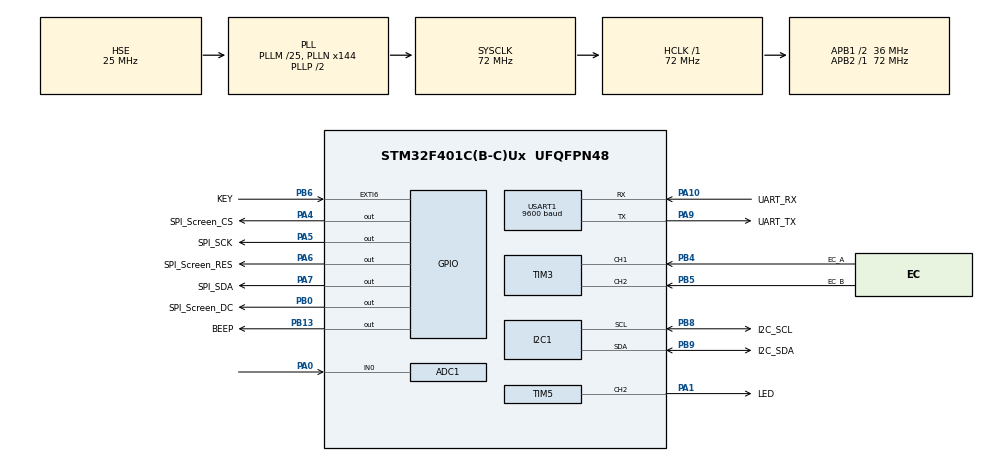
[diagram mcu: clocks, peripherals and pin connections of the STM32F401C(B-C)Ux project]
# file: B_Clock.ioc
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ADC1.Channel-1\#ChannelRegularConversion=ADC_CHANNEL_0
ADC1.ClockPrescaler=ADC_CLOCK_SYNC_PCLK_DIV4
ADC1.NbrOfConversionFlag=1
ADC1.Rank-1\#ChannelRegularConversion=1
ADC1.SamplingTime-1\#ChannelRegularConversion=ADC_SAMPLETIME_3CYCLES
ADC1.master=1
Dma.Request0=USART1_RX
Dma.Request1=USART1_TX
Dma.USART1_RX.0.Direction=DMA_PERIPH_TO_MEMORY
Dma.USART1_RX.0.FIFOMode=DMA_FIFOMODE_DISABLE
Dma.USART1_RX.0.Instance=DMA2_Stream2
Dma.USART1_RX.0.MemDataAlignment=DMA_MDATAALIGN_BYTE
Dma.USART1_RX.0.MemInc=DMA_MINC_ENABLE
Dma.USART1_RX.0.Mode=DMA_NORMAL
Dma.USART1_RX.0.PeriphDataAlignment=DMA_PDATAALIGN_BYTE
Dma.USART1_RX.0.PeriphInc=DMA_PINC_DISABLE
Dma.USART1_RX.0.Priority=DMA_PRIORITY_LOW
Dma.USART1_TX.1.Direction=DMA_MEMORY_TO_PERIPH
Dma.USART1_TX.1.FIFOMode=DMA_FIFOMODE_DISABLE
Dma.USART1_TX.1.Instance=DMA2_Stream7
Dma.USART1_TX.1.MemDataAlignment=DMA_MDATAALIGN_BYTE
Dma.USART1_TX.1.MemInc=DMA_MINC_ENABLE
Dma.USART1_TX.1.Mode=DMA_NORMAL
Dma.USART1_TX.1.PeriphDataAlignment=DMA_PDATAALIGN_BYTE
Dma.USART1_TX.1.PeriphInc=DMA_PINC_DISABLE
Dma.USART1_TX.1.Priority=DMA_PRIORITY_LOW
Mcu.Family=STM32F4
Mcu.Name=STM32F401C(B-C)Ux
Mcu.Package=UFQFPN48
NVIC.DMA2_Stream2_IRQn=true\:0\:0\:false\:false\:true\:false\:true\:true
NVIC.DMA2_Stream7_IRQn=true\:0\:0\:false\:false\:true\:false\:true\:true
NVIC.EXTI9_5_IRQn=true\:4\:0\:true\:false\:true\:true\:true\:true
NVIC.PriorityGroup=NVIC_PRIORITYGROUP_4
NVIC.RTC_Alarm_IRQn=true\:1\:0\:true\:false\:true\:true\:true\:true
NVIC.TIM2_IRQn=true\:3\:0\:true\:false\:true\:true\:true\:true
NVIC.TIM4_IRQn=true\:8\:0\:true\:false\:true\:true\:true\:true
NVIC.USART1_IRQn=true\:2\:0\:true\:false\:true\:true\:true\:true
PA0-WKUP.Signal=ADCx_IN0
PA1.GPIO_Label=LED
PA1.GPIO_ModeDefaultPP=GPIO_MODE_AF_OD
PA1.GPIO_PuPd=GPIO_NOPULL
PA1.GPIO_Speed=GPIO_SPEED_FREQ_LOW
PA1.Signal=S_TIM5_CH2
PA10.GPIO_Label=UART_RX
PA10.Mode=Asynchronous
PA10.Signal=USART1_RX
PA13.Mode=Serial_Wire
PA13.Signal=SYS_JTMS-SWDIO
PA14.Mode=Serial_Wire
PA14.Signal=SYS_JTCK-SWCLK
PA4.GPIO_Label=SPI_Screen_CS
PA4.GPIO_PuPd=GPIO_PULLUP
PA4.GPIO_Speed=GPIO_SPEED_FREQ_VERY_HIGH
PA4.Signal=GPIO_Output
PA5.GPIO_Label=SPI_SCK
PA5.GPIO_PuPd=GPIO_PULLUP
PA5.GPIO_Speed=GPIO_SPEED_FREQ_VERY_HIGH
PA5.Signal=GPIO_Output
PA6.GPIO_Label=SPI_Screen_RES
PA6.GPIO_PuPd=GPIO_PULLUP
PA6.GPIO_Speed=GPIO_SPEED_FREQ_VERY_HIGH
PA6.Signal=GPIO_Output
PA7.GPIO_Label=SPI_SDA
PA7.GPIO_PuPd=GPIO_PULLUP
PA7.GPIO_Speed=GPIO_SPEED_FREQ_VERY_HIGH
PA7.Signal=GPIO_Output
PA9.GPIO_Label=UART_TX
PA9.Mode=Asynchronous
PA9.Signal=USART1_TX
PB0.GPIO_Label=SPI_Screen_DC
PB0.GPIO_PuPd=GPIO_PULLUP
PB0.GPIO_Speed=GPIO_SPEED_FREQ_VERY_HIGH
PB0.Signal=GPIO_Output
PB13.GPIO_Label=BEEP
PB13.GPIO_ModeDefaultOutputPP=GPIO_MODE_OUTPUT_OD
PB13.GPIO_PuPd=GPIO_NOPULL
PB13.PinState=GPIO_PIN_SET
PB13.Signal=GPIO_Output
PB4.GPIO_Label=EC_A
PB4.GPIO_PuPd=GPIO_PULLUP
PB4.Signal=S_TIM3_CH1
PB5.GPIO_Label=EC_B
PB5.GPIO_PuPd=GPIO_PULLUP
PB5.Signal=S_TIM3_CH2
PB6.GPIO_Label=KEY
PB6.GPIO_ModeDefaultEXTI=GPIO_MODE_IT_FALLING
PB6.GPIO_PuPd=GPIO_PULLUP
PB6.Signal=GPXTI6
PB8.GPIO_Label=I2C_SCL
PB8.Mode=I2C
PB8.Signal=I2C1_SCL
PB9.GPIO_Label=I2C_SDA
PB9.Mode=I2C
PB9.Signal=I2C1_SDA
PC14-OSC32_IN.Mode=LSE-External-Oscillator
PC14-OSC32_IN.Signal=RCC_OSC32_IN
PC15-OSC32_OUT.Mode=LSE-External-Oscillator
PC15-OSC32_OUT.Signal=RCC_OSC32_OUT
PH0\ -\ OSC_IN.Mode=HSE-External-Oscillator
PH0\ -\ OSC_IN.Signal=RCC_OSC_IN
PH1\ -\ OSC_OUT.Mode=HSE-External-Oscillator
PH1\ -\ OSC_OUT.Signal=RCC_OSC_OUT
ProjectManager.HeapSize=0x200
ProjectManager.StackSize=0x400
ProjectManager.TargetToolchain=STM32CubeIDE
RCC.48MHZClocksFreq_Value=36000000
RCC.AHBFreq_Value=72000000
RCC.APB1CLKDivider=RCC_HCLK_DIV2
RCC.APB1Freq_Value=36000000
RCC.APB1TimFreq_Value=72000000
RCC.APB2Freq_Value=72000000
RCC.APB2TimFreq_Value=72000000
RCC.CortexFreq_Value=72000000
RCC.EnbaleCSS=true
RCC.HCLKFreq_Value=72000000
RCC.HSE_VALUE=25000000
RCC.HSI_VALUE=16000000
RCC.PLLM=25
RCC.PLLN=144
RCC.PLLSourceVirtual=RCC_PLLSOURCE_HSE
RCC.RCC_RTC_Clock_Source=RCC_RTCCLKSOURCE_LSE
RCC.RCC_RTC_Clock_SourceVirtual=RCC_RTCCLKSOURCE_LSE
RCC.SYSCLKFreq_VALUE=72000000
RCC.SYSCLKSource=RCC_SYSCLKSOURCE_PLLCLK
RCC.VCOOutputFreq_Value=144000000
RCC.VDD_VALUE=3.3
RTC.Alarm=RTC_ALARM_A
RTC.AlarmMaskDateWeekDay=RTC_ALARMMASK_DATEWEEKDAY
RTC.AlarmMaskHours=RTC_ALARMMASK_HOURS
RTC.AlarmMaskMinutes=RTC_ALARMMASK_MINUTES
RTC.AlarmMaskSeconds=RTC_ALARMMASK_SECONDS
RTC.Format=RTC_FORMAT_BIN
SH.ADCx_IN0.0=ADC1_IN0,IN0
SH.S_TIM3_CH1.0=TIM3_CH1,Encoder_Interface
SH.S_TIM3_CH2.0=TIM3_CH2,Encoder_Interface
SH.S_TIM5_CH2.0=TIM5_CH2,PWM Generation2 CH2
TIM2.AutoReloadPreload=TIM_AUTORELOAD_PRELOAD_ENABLE
TIM2.Period=999
TIM2.Prescaler=7199
TIM3.EncoderMode=TIM_ENCODERMODE_TI12
TIM3.IC1Filter=6
TIM3.IC2Filter=6
TIM4.AutoReloadPreload=TIM_AUTORELOAD_PRELOAD_ENABLE
TIM4.Period=820
TIM4.Prescaler=719
TIM5.Channel-PWM\ Generation2\ CH2=TIM_CHANNEL_2
TIM5.Period=99
TIM5.Prescaler=7199
USART1.BaudRate=9600
USART1.VirtualMode=VM_ASYNC
VP_RTC_VS_RTC_Activate.Mode=RTC_Enabled
VP_RTC_VS_RTC_Alarm_A_Intern.Mode=Alarm A
VP_RTC_VS_RTC_Calendar.Mode=RTC_Calendar
VP_TIM2_VS_ClockSourceINT.Mode=Internal
VP_TIM4_VS_ClockSourceINT.Mode=Internal
board=custom

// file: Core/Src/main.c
/* USER CODE BEGIN Header */
/**
 ******************************************************************************
 * @file           : main.c
 * @brief          : Main program body
 ******************************************************************************
 * @attention
 *
 * Copyright (c) 2023 STMicroelectronics.
 * All rights reserved.
 *
 * This software is licensed under terms that can be found in the LICENSE file
 * in the root directory of this software component.
 * If no LICENSE file comes with this software, it is provided AS-IS.
 *
 ******************************************************************************
 */
/* USER CODE END Header */
#include "main.h"

/* USER CODE BEGIN Includes */
#include <stdlib.h>
#include <string.h>
#include "struct_define.h"
#include "time_control.h"
#include "oled.h"
#include "error.h"
#include "LM75A.h"
#include "screen_content.h"
#include "encoder.h"
#include "bluetooth.h"
// #include "oledfont.h"
/* USER CODE END Includes */

ADC_HandleTypeDef hadc1;

I2C_HandleTypeDef hi2c1;

RTC_HandleTypeDef hrtc;

TIM_HandleTypeDef htim2;
TIM_HandleTypeDef htim3;
TIM_HandleTypeDef htim4;
TIM_HandleTypeDef htim5;

UART_HandleTypeDef huart1;
DMA_HandleTypeDef hdma_usart1_rx;
DMA_HandleTypeDef hdma_usart1_tx;

/* USER CODE BEGIN PV */

// 定义来自 struct_define.h 的结构体
// 记录时间
Times time_now;
// 记录正计时
Timing timing;
// 记录设置
Alarm_Setting alarm_setting;
// 记录屏幕内容
Screen screen;
// LED pwm 控制
Led_Control led_control = {0, 1}; // LED 呼吸灯控制
// 编码器状态
Encoder_State encoder_state = {0, 0}; // 初始时没有左右旋
// 蓝牙设置
Bluetooth_Setting bluetooth_setting;

// 小游戏
Times time_game = {0, 0, 0};

// 记录温度
extern TempDataStruct Tempdata;

// 蓝牙
uint8_t Rx_String[50];

/* USER CODE END PV */

void SystemClock_Config(void);
static void MX_GPIO_Init(void);
static void MX_DMA_Init(void);
static void MX_I2C1_Init(void);
static void MX_RTC_Init(void);
static void MX_USART1_UART_Init(void);
static void MX_TIM3_Init(void);
static void MX_TIM5_Init(void);
static void MX_TIM2_Init(void);
static void MX_TIM4_Init(void);
static void MX_ADC1_Init(void);

/* USER CODE BEGIN 0 */

// 蓝牙接收中断
void HAL_UARTEx_RxEventCallback(UART_HandleTypeDef *huart, uint16_t Size)
{
  if (huart == &huart1)
  {
    if (Rx_String[0] == 'n' && Rx_String[1] == 'o' && Rx_String[2] == 'w')
    {
      int8_t new_hour, new_minute, new_second;
      if ((new_hour = bluetooth_match_num(Rx_String[3], Rx_String[4], Rx_String[5], 00, 23)) != -1 && (new_minute = bluetooth_match_num(Rx_String[6], Rx_String[7], Rx_String[8], 00, 59)) != -1 && (new_second = bluetooth_match_num(Rx_String[9], Rx_String[10], Rx_String[11], 00, 59)) != -1)
      {
        time_now.hour = new_hour;
        time_now.minute = new_minute;
        time_now.second = new_second;
        bluetooth_send("ok", 2);
      }
      else
      {
        bluetooth_send("error", 5);
      }
    }
    else if (Rx_String[0] == 'a' && Rx_String[1] == 'l' && Rx_String[2] == 'm')
    {
      int8_t new_hour, new_minute, new_second;
      if ((new_hour = bluetooth_match_num(Rx_String[3], Rx_String[4], Rx_String[5], 00, 23)) != -1 && (new_minute = bluetooth_match_num(Rx_String[6], Rx_String[7], Rx_String[8], 00, 59)) != -1 && (new_second = bluetooth_match_num(Rx_String[9], Rx_String[10], Rx_String[11], 00, 59)) != -1)
      {
        alarm_setting.time_alart.hour = new_hour;
        alarm_setting.time_alart.minute = new_minute;
        alarm_setting.time_alart.second = new_second;
        bluetooth_send("ok", 2);
      }
      else
      {
        bluetooth_send("error", 5);
      }
    }
    else if (Rx_String[0] == 'f' && Rx_String[1] == 'r' && Rx_String[2] == 'q')
    {
      int8_t frq = 0;
      if ((frq = bluetooth_match_num(Rx_String[3], Rx_String[4], Rx_String[5], 01, 10)) != -1)
      {
        alarm_setting.alarm_frequency = frq;
        bluetooth_send("ok", 2);
      }
      else
      {
        bluetooth_send("error", 5);
      }
    }
    else if (Rx_String[0] == 's' && Rx_String[1] == 't' && Rx_String[2] == 'o' && Rx_String[3] == 'p')
    {
      // 停止，回主界面
      screen.screen_display_num = 1;
      screen.screen_display_choose = -1;
      screen.clean_display = 1;
      // 清除剩余响铃时间
      alarm_setting.alarming_time = 100;
      // 清空延时响铃
      alarm_setting.is_alarm_delayed = 0;
      bluetooth_send("ok", 2);
    }
    else
    {
      bluetooth_send("error", 5);
    }

    HAL_UARTEx_ReceiveToIdle_DMA(&huart1, Rx_String, sizeof(Rx_String));
    __HAL_DMA_DISABLE_IT(&hdma_usart1_rx, DMA_IT_HT);
  }
}

// 按键中断
void HAL_GPIO_EXTI_Callback(uint16_t GPIO_Pin)
{
  if (GPIO_Pin == KEY_Pin)
  {
    // 按键蜂鸣提示
    alarm_setting.alarming_time = 50;

    // 按界面分情况
    switch (screen.screen_display_num)
    {
    case 0: // 开机屏幕，忽略 小游戏
      screen.screen_display_num = 66;
      screen.screen_display_choose = 0;
      screen.clean_display = 1;
      break;

    case 1: // 主界面，进设置
      screen.screen_display_num = 2;
      screen.screen_display_choose = 0;
      screen.clean_display = 1;
      break;

    case 2: // 设置界面，看选择
      switch (screen.screen_display_choose)
      {
      case 0: // 回主界面
        screen.screen_display_num = 1;
        screen.screen_display_choose = -1;
        screen.clean_display = 1;
        break;
      case 1: // 进入时间设定界面
        screen.screen_display_num = 4;
        screen.screen_display_choose = 0;
        screen.clean_display = 1;
        break;
      case 2: // 进入闹钟设定界面
        screen.screen_display_num = 5;
        screen.screen_display_choose = 0;
        screen.clean_display = 1;
        break;
      case 3: // 进入蓝牙界面
        screen.screen_display_num = 3;
        screen.screen_display_choose = -1;
        screen.clean_display = 1;
        break;
      case 4: // 进入正计时界面
        screen.screen_display_num = 6;
        screen.screen_display_choose = -1;
        screen.clean_display = 1;
        break;
      }
      break;

    case 3: // 蓝牙界面，回主界面
      screen.screen_display_num = 1;
      screen.screen_display_choose = -1;
      screen.clean_display = 1;
      break;

    case 4: // 时间设定界面，进入下一项，直到结束
      screen.screen_display_choose++;
      break;

    case 5: // 闹钟设定界面，进入下一项，直到结束
      screen.screen_display_choose++;
      break;

    case 6: // 正计时界面，停止，开始
      if (timing.is_timing)
      {
        timing.is_timing = 0;
      }
      else
      {
        timing.is_timing = 1;
      }
      break;

    case 10: // 闹钟提示界面，按下停止，回主界面
      screen.screen_display_num = 1;
      screen.screen_display_choose = -1;
      screen.clean_display = 1;
      // 清空延时响铃
      alarm_setting.is_alarm_delayed = 0;
      break;

    case 66: // 小游戏，时间加
      time_add(&time_game);
      break;
    }
    return;
  }
}

// 时钟中断
void HAL_RTC_AlarmAEventCallback(RTC_HandleTypeDef *hrtc)
{
  /* Prevent unused argument(s) compilation warning */
  UNUSED(hrtc);

  // 每秒时钟增一单位
  time_add(&time_now);

  // 如果在正计时，计时加一单位
  if (timing.is_timing)
  {
    time_add(&timing.time_timing);
  }

  // 检测是否鸣响
  if (time_now.hour == alarm_setting.time_alart.hour && time_now.minute == alarm_setting.time_alart.minute && time_now.second == alarm_setting.time_alart.second)
  {
    alarm_setting.alarming_time = 60000; // 响铃60秒
    // 进入鸣响提示界面
    screen.screen_display_num = 10;
    screen.clean_display = 1;
    screen.screen_display_choose = -1;
    // 重置延时响铃
    alarm_setting.is_alarm_delayed = 0;
    alarm_setting.time_alart_real.hour = alarm_setting.time_alart.hour;
    alarm_setting.time_alart_real.minute = alarm_setting.time_alart.minute;
    alarm_setting.time_alart_real.second = alarm_setting.time_alart.second;
  }

  // 检测延时响铃，最多三次
  if (alarm_setting.is_alarm_delayed > 0 && alarm_setting.is_alarm_delayed < 4)
  {
    if (time_now.hour == alarm_setting.time_alart_real.hour && time_now.minute == alarm_setting.time_alart_real.minute && time_now.second == alarm_setting.time_alart_real.second)
    {
      alarm_setting.alarming_time = 60000; // 响铃60秒
      // 进入鸣响提示界面
      screen.screen_display_num = 10;
      screen.clean_display = 1;
      screen.screen_display_choose = -1;
    }
  }
  else
  {
    // 已经延时三次了，重置
    alarm_setting.is_alarm_delayed = 0;
  }
  return;
}

// 定时中断
void HAL_TIM_PeriodElapsedCallback(TIM_HandleTypeDef *htim)
{
  /* Prevent unused argument(s) compilation warning */
  UNUSED(htim);

  // 确认是tim2 10hz中断
  if (htim == (&htim2))
  {
    // 获取温度
    LM75A_GetTemperature();

    // 获取encoder值
    encoder_get_state();

    // 如果在闹钟界面且已经响铃一分钟，自动延时
    if (screen.screen_display_num == 10 && alarm_setting.alarming_time == 0)
    {
      // 闹钟提示界面，回主界面，3次内延时响铃
      screen.screen_display_num = 1;
      screen.screen_display_choose = -1;
      screen.clean_display = 1;
      time_alarm_delay(&alarm_setting);
    }

    // 根据界面决定encoder值更改位置
    if (encoder_state.Left || encoder_state.Right)
    {
      switch (screen.screen_display_num)
      {
      case 0: // 开机界面，丢弃
        break;

      case 1: // 主界面，丢弃
        break;

      case 2: // 设置界面，选择条目
        screen.screen_display_choose += encoder_state.Right - encoder_state.Left;
        break;

      case 3: // 蓝牙界面，丢弃
        break;

      case 4: // 时间设定界面，调整对应值
        switch (screen.screen_display_choose)
        {
        case 0:
          time_now.hour += encoder_state.Right - encoder_state.Left;
          if (time_now.hour > 23)
          {
            time_now.hour = 0;
          }
          if (time_now.hour < 0)
          {
            time_now.hour = 23;
          }
          break;
        case 1:
          time_now.minute += encoder_state.Right - encoder_state.Left;
          if (time_now.minute > 59)
          {
            time_now.minute = 0;
          }
          if (time_now.minute < 0)
          {
            time_now.minute = 59;
          }
          break;

        case 2:
          time_now.second += encoder_state.Right - encoder_state.Left;
          if (time_now.second > 59)
          {
            time_now.second = 0;
          }
          if (time_now.second < 0)
          {
            time_now.second = 59;
          }
          break;
        }
        break;

      case 5: // 闹钟设定界面，调整对应值
        switch (screen.screen_display_choose)
        {
        case 0:
          alarm_setting.time_alart.hour += encoder_state.Right - encoder_state.Left;
          if (alarm_setting.time_alart.hour > 23)
          {
            alarm_setting.time_alart.hour = 0;
          }
          if (alarm_setting.time_alart.hour < 0)
          {
            alarm_setting.time_alart.hour = 23;
          }
          break;

        case 1:
          alarm_setting.time_alart.minute += encoder_state.Right - encoder_state.Left;
          if (alarm_setting.time_alart.minute > 59)
          {
            alarm_setting.time_alart.minute = 0;
          }
          if (alarm_setting.time_alart.minute < 0)
          {
            alarm_setting.time_alart.minute = 59;
          }
          break;

        case 2:
          alarm_setting.time_alart.second += encoder_state.Right - encoder_state.Left;
          if (alarm_setting.time_alart.second > 59)
          {
            alarm_setting.time_alart.second = 0;
          }
          if (alarm_setting.time_alart.second < 0)
          {
            alarm_setting.time_alart.second = 59;
          }
          break;
        case 3:
          alarm_setting.alarm_frequency += encoder_state.Right - encoder_state.Left;
          if (alarm_setting.alarm_frequency > 10)
          {
            alarm_setting.alarm_frequency = 0;
          }
          if (alarm_setting.alarm_frequency < 1)
          {
            alarm_setting.alarm_frequency = 10;
          }
          break;
        }
        break;

      case 6: // 正计时界面，左clear，右back
        if (encoder_state.Left)
        {
          // 左clear
          timing.time_timing.hour = 0;
          timing.time_timing.minute = 0;
          timing.time_timing.second = 0;
        }
        else
        {
          // 右back，回主界面
          screen.screen_display_num = 1;
          screen.screen_display_choose = -1;
          screen.clean_display = 1;
        }
        break;

      case 10: // 闹钟提示界面，回主界面，3次内延时响铃
        screen.screen_display_num = 1;
        screen.screen_display_choose = -1;
        screen.clean_display = 1;
        // 停止响铃
        alarm_setting.alarming_time = 0;
        // 3次内延时加一次
        time_alarm_delay(&alarm_setting);
        break;
      }
    }

    // 丢弃
    encoder_state.Left = 0;
    encoder_state.Right = 0;

    // 屏显
    screen_show(&screen.screen_display_num, &screen.clean_display);
  }
  // 确认是tim4 100hz中断
  if (htim == (&htim4))
  {
    // 闲时LED保持呼吸，不响铃
    if (!alarm_setting.alarming_time)
    {
      // 不响铃
      HAL_GPIO_WritePin(BEEP_GPIO_Port, BEEP_Pin, GPIO_PIN_SET);
      // 呼吸
      if (led_control.LedpwmVal_Dir)
        led_control.LedpwmVal += 2;
      else
        led_control.LedpwmVal -= 2;

      if (led_control.LedpwmVal >= 98)
        led_control.LedpwmVal_Dir = 0; // 切换为PWM值减

      if (led_control.LedpwmVal <= 1)
        led_control.LedpwmVal_Dir = 1; // 切换为PWM值增
    }
    else
    {
      // 处理alarm
      if ((alarm_setting.alarming_time / (500 / alarm_setting.alarm_frequency)) % 2 == 0)
      {
        HAL_GPIO_WritePin(BEEP_GPIO_Port, BEEP_Pin, GPIO_PIN_RESET);
        led_control.LedpwmVal = 0; // 占空比100%
        led_control.LedpwmVal_Dir = 1;
      }
      else
      {
        HAL_GPIO_WritePin(BEEP_GPIO_Port, BEEP_Pin, GPIO_PIN_SET);
        led_control.LedpwmVal = 100; // 占空比0%
        led_control.LedpwmVal_Dir = 0;
      }

      alarm_setting.alarming_time -= 10; // 对alarm剩余时间减一单位
    }
    // 更新led pwm配置
    __HAL_TIM_SET_COMPARE(&htim5, TIM_CHANNEL_2, led_control.LedpwmVal);
  }
}

/* USER CODE END 0 */

int main(void)
{

  /* MCU Configuration--------------------------------------------------------*/

  /* Reset of all peripherals, Initializes the Flash interface and the Systick. */
  HAL_Init();

  /* Configure the system clock */
  SystemClock_Config();

  /* Initialize all configured peripherals */
  MX_GPIO_Init();
  MX_DMA_Init();
  MX_I2C1_Init();
  MX_RTC_Init();
  MX_USART1_UART_Init();
  MX_TIM3_Init();
  MX_TIM5_Init();
  MX_TIM2_Init();
  MX_TIM4_Init();
  MX_ADC1_Init();
  /* USER CODE BEGIN 2 */

  // 初始化状态检测
  HAL_StatusTypeDef status_test;

  // 初始化屏幕
  OLED_Init();

  // 启用编码器计数
  HAL_TIM_Encoder_Start(&htim3, TIM_CHANNEL_ALL);

  // 启用tim2 10hz
  HAL_TIM_Base_Start_IT(&htim2);
  // 启用tim4 100hz
  HAL_TIM_Base_Start_IT(&htim4);

  // 启动LED的PWM
  HAL_TIM_PWM_Start(&htim5, TIM_CHANNEL_2);

  // 鸣响频率 1~10
  alarm_setting.alarm_frequency = 5;
  // 初始化为不响铃
  alarm_setting.time_alart.hour = 0;
  alarm_setting.time_alart.minute = 0;
  alarm_setting.time_alart.second = 0;
  alarm_setting.time_alart_real.hour = 0;
  alarm_setting.time_alart_real.minute = 0;
  alarm_setting.time_alart_real.second = 0;
  alarm_setting.is_alarm_delayed = 0;

  // 不在响铃状态
  alarm_setting.alarming_time = 0;

  // 开机界面
  screen.screen_display_num = 0;
  screen.screen_display_choose = -1;
  screen.clean_display = 0;

  // 初始化蓝牙
  // 开启蓝牙接收中断
  HAL_UARTEx_ReceiveToIdle_DMA(&huart1, Rx_String, sizeof(Rx_String));
  __HAL_DMA_DISABLE_IT(&hdma_usart1_rx, DMA_IT_HT);

  // 设置广播名
  HAL_UART_Transmit(&huart1, "AT+NAMECLOCK\r\n", 14, 500);
  HAL_Delay(50);

  // 设置pin
  HAL_ADC_Start(&hadc1);
  HAL_ADC_PollForConversion(&hadc1, 100);
  srand(HAL_ADC_GetValue(&hadc1));
  bluetooth_setting.bluetooth_pin = rand() % 10000;
  if (bluetooth_setting.bluetooth_pin < 1000)
  {
    bluetooth_setting.bluetooth_pin += 1000;
  }
  itoa(bluetooth_setting.bluetooth_pin, bluetooth_setting.bluetooth_pin_str, 10);
  uint8_t bluetooth_cmd[20] = "AT+PIN";
  strcat(bluetooth_cmd, bluetooth_setting.bluetooth_pin_str);
  strcat(bluetooth_cmd, "\r\n");
  HAL_UART_Transmit(&huart1, bluetooth_cmd, strlen(bluetooth_cmd), 500);
  HAL_Delay(50);

  // 开启oled
  OLED_DisPlay_On();

  // 0.显示开机画面
  screen.screen_display_num = 0;
  screen.screen_display_choose = -1;
  screen.clean_display = 1;
  screen_show(&screen.screen_display_num, &screen.clean_display);
  HAL_Delay(3000);

  // 小游戏就不显示了
  if (screen.screen_display_num != 66)
  {
    // 1.显示主界面
    screen.screen_display_num = 1;
    screen.screen_display_choose = -1;
    screen.clean_display = 1;
  }
  /* USER CODE END 2 */

  /* Infinite loop */
  while (1)
  {

    /* USER CODE BEGIN 3 */

    // while 函数不用执行太快
    HAL_Delay(1000);
  }
  /* USER CODE END 3 */
}

void SystemClock_Config(void)
{
  RCC_OscInitTypeDef RCC_OscInitStruct = {0};
  RCC_ClkInitTypeDef RCC_ClkInitStruct = {0};

  /** Configure the main internal regulator output voltage
   */
  __HAL_RCC_PWR_CLK_ENABLE();
  __HAL_PWR_VOLTAGESCALING_CONFIG(PWR_REGULATOR_VOLTAGE_SCALE2);

  /** Initializes the RCC Oscillators according to the specified parameters
   * in the RCC_OscInitTypeDef structure.
   */
  RCC_OscInitStruct.OscillatorType = RCC_OSCILLATORTYPE_HSE | RCC_OSCILLATORTYPE_LSE;
  RCC_OscInitStruct.HSEState = RCC_HSE_ON;
  RCC_OscInitStruct.LSEState = RCC_LSE_ON;
  RCC_OscInitStruct.PLL.PLLState = RCC_PLL_ON;
  RCC_OscInitStruct.PLL.PLLSource = RCC_PLLSOURCE_HSE;
  RCC_OscInitStruct.PLL.PLLM = 25;
  RCC_OscInitStruct.PLL.PLLN = 144;
  RCC_OscInitStruct.PLL.PLLP = RCC_PLLP_DIV2;
  RCC_OscInitStruct.PLL.PLLQ = 4;
  if (HAL_RCC_OscConfig(&RCC_OscInitStruct) != HAL_OK)
  {
    Error_Handler();
  }

  /** Initializes the CPU, AHB and APB buses clocks
   */
  RCC_ClkInitStruct.ClockType = RCC_CLOCKTYPE_HCLK | RCC_CLOCKTYPE_SYSCLK | RCC_CLOCKTYPE_PCLK1 | RCC_CLOCKTYPE_PCLK2;
  RCC_ClkInitStruct.SYSCLKSource = RCC_SYSCLKSOURCE_PLLCLK;
  RCC_ClkInitStruct.AHBCLKDivider = RCC_SYSCLK_DIV1;
  RCC_ClkInitStruct.APB1CLKDivider = RCC_HCLK_DIV2;
  RCC_ClkInitStruct.APB2CLKDivider = RCC_HCLK_DIV1;

  if (HAL_RCC_ClockConfig(&RCC_ClkInitStruct, FLASH_LATENCY_2) != HAL_OK)
  {
    Error_Handler();
  }

  /** Enables the Clock Security System
   */
  HAL_RCC_EnableCSS();
}

static void MX_ADC1_Init(void)
{

  ADC_ChannelConfTypeDef sConfig = {0};

  /** Configure the global features of the ADC (Clock, Resolution, Data Alignment and number of conversion)
   */
  hadc1.Instance = ADC1;
  hadc1.Init.ClockPrescaler = ADC_CLOCK_SYNC_PCLK_DIV4;
  hadc1.Init.Resolution = ADC_RESOLUTION_12B;
  hadc1.Init.ScanConvMode = DISABLE;
  hadc1.Init.ContinuousConvMode = DISABLE;
  hadc1.Init.DiscontinuousConvMode = DISABLE;
  hadc1.Init.ExternalTrigConvEdge = ADC_EXTERNALTRIGCONVEDGE_NONE;
  hadc1.Init.ExternalTrigConv = ADC_SOFTWARE_START;
  hadc1.Init.DataAlign = ADC_DATAALIGN_RIGHT;
  hadc1.Init.NbrOfConversion = 1;
  hadc1.Init.DMAContinuousRequests = DISABLE;
  hadc1.Init.EOCSelection = ADC_EOC_SINGLE_CONV;
  if (HAL_ADC_Init(&hadc1) != HAL_OK)
  {
    Error_Handler();
  }

  /** Configure for the selected ADC regular channel its corresponding rank in the sequencer and its sample time.
   */
  sConfig.Channel = ADC_CHANNEL_0;
  sConfig.Rank = 1;
  sConfig.SamplingTime = ADC_SAMPLETIME_3CYCLES;
  if (HAL_ADC_ConfigChannel(&hadc1, &sConfig) != HAL_OK)
  {
    Error_Handler();
  }
}

static void MX_I2C1_Init(void)
{

  hi2c1.Instance = I2C1;
  hi2c1.Init.ClockSpeed = 100000;
  hi2c1.Init.DutyCycle = I2C_DUTYCYCLE_2;
  hi2c1.Init.OwnAddress1 = 0;
  hi2c1.Init.AddressingMode = I2C_ADDRESSINGMODE_7BIT;
  hi2c1.Init.DualAddressMode = I2C_DUALADDRESS_DISABLE;
  hi2c1.Init.OwnAddress2 = 0;
  hi2c1.Init.GeneralCallMode = I2C_GENERALCALL_DISABLE;
  hi2c1.Init.NoStretchMode = I2C_NOSTRETCH_DISABLE;
  if (HAL_I2C_Init(&hi2c1) != HAL_OK)
  {
    Error_Handler();
  }
}

static void MX_RTC_Init(void)
{

  RTC_TimeTypeDef sTime = {0};
  RTC_DateTypeDef sDate = {0};
  RTC_AlarmTypeDef sAlarm = {0};

  /** Initialize RTC Only
   */
  hrtc.Instance = RTC;
  hrtc.Init.HourFormat = RTC_HOURFORMAT_24;
  hrtc.Init.AsynchPrediv = 127;
  hrtc.Init.SynchPrediv = 255;
  hrtc.Init.OutPut = RTC_OUTPUT_DISABLE;
  hrtc.Init.OutPutPolarity = RTC_OUTPUT_POLARITY_HIGH;
  hrtc.Init.OutPutType = RTC_OUTPUT_TYPE_OPENDRAIN;
  if (HAL_RTC_Init(&hrtc) != HAL_OK)
  {
    Error_Handler();
  }

  /** Initialize RTC and set the Time and Date
   */
  sTime.Hours = 0;
  sTime.Minutes = 0;
  sTime.Seconds = 0;
  sTime.DayLightSaving = RTC_DAYLIGHTSAVING_NONE;
  sTime.StoreOperation = RTC_STOREOPERATION_RESET;
  if (HAL_RTC_SetTime(&hrtc, &sTime, RTC_FORMAT_BIN) != HAL_OK)
  {
    Error_Handler();
  }
  sDate.WeekDay = RTC_WEEKDAY_MONDAY;
  sDate.Month = RTC_MONTH_JANUARY;
  sDate.Date = 1;
  sDate.Year = 0;

  if (HAL_RTC_SetDate(&hrtc, &sDate, RTC_FORMAT_BIN) != HAL_OK)
  {
    Error_Handler();
  }

  /** Enable the Alarm A
   */
  sAlarm.AlarmTime.Hours = 0;
  sAlarm.AlarmTime.Minutes = 0;
  sAlarm.AlarmTime.Seconds = 0;
  sAlarm.AlarmTime.SubSeconds = 0;
  sAlarm.AlarmTime.DayLightSaving = RTC_DAYLIGHTSAVING_NONE;
  sAlarm.AlarmTime.StoreOperation = RTC_STOREOPERATION_RESET;
  sAlarm.AlarmMask = RTC_ALARMMASK_ALL;
  sAlarm.AlarmSubSecondMask = RTC_ALARMSUBSECONDMASK_ALL;
  sAlarm.AlarmDateWeekDaySel = RTC_ALARMDATEWEEKDAYSEL_DATE;
  sAlarm.AlarmDateWeekDay = 1;
  sAlarm.Alarm = RTC_ALARM_A;
  if (HAL_RTC_SetAlarm_IT(&hrtc, &sAlarm, RTC_FORMAT_BIN) != HAL_OK)
  {
    Error_Handler();
  }
}

static void MX_TIM2_Init(void)
{

  TIM_ClockConfigTypeDef sClockSourceConfig = {0};
  TIM_MasterConfigTypeDef sMasterConfig = {0};

  htim2.Instance = TIM2;
  htim2.Init.Prescaler = 7199;
  htim2.Init.CounterMode = TIM_COUNTERMODE_UP;
  htim2.Init.Period = 999;
  htim2.Init.ClockDivision = TIM_CLOCKDIVISION_DIV1;
  htim2.Init.AutoReloadPreload = TIM_AUTORELOAD_PRELOAD_ENABLE;
  if (HAL_TIM_Base_Init(&htim2) != HAL_OK)
  {
    Error_Handler();
  }
  sClockSourceConfig.ClockSource = TIM_CLOCKSOURCE_INTERNAL;
  if (HAL_TIM_ConfigClockSource(&htim2, &sClockSourceConfig) != HAL_OK)
  {
    Error_Handler();
  }
  sMasterConfig.MasterOutputTrigger = TIM_TRGO_RESET;
  sMasterConfig.MasterSlaveMode = TIM_MASTERSLAVEMODE_DISABLE;
  if (HAL_TIMEx_MasterConfigSynchronization(&htim2, &sMasterConfig) != HAL_OK)
  {
    Error_Handler();
  }
}

static void MX_TIM3_Init(void)
{

  TIM_Encoder_InitTypeDef sConfig = {0};
  TIM_MasterConfigTypeDef sMasterConfig = {0};

  htim3.Instance = TIM3;
  htim3.Init.Prescaler = 0;
  htim3.Init.CounterMode = TIM_COUNTERMODE_UP;
  htim3.Init.Period = 65535;
  htim3.Init.ClockDivision = TIM_CLOCKDIVISION_DIV1;
  htim3.Init.AutoReloadPreload = TIM_AUTORELOAD_PRELOAD_DISABLE;
  sConfig.EncoderMode = TIM_ENCODERMODE_TI12;
  sConfig.IC1Polarity = TIM_ICPOLARITY_RISING;
  sConfig.IC1Selection = TIM_ICSELECTION_DIRECTTI;
  sConfig.IC1Prescaler = TIM_ICPSC_DIV1;
  sConfig.IC1Filter = 6;
  sConfig.IC2Polarity = TIM_ICPOLARITY_RISING;
  sConfig.IC2Selection = TIM_ICSELECTION_DIRECTTI;
  sConfig.IC2Prescaler = TIM_ICPSC_DIV1;
  sConfig.IC2Filter = 6;
  if (HAL_TIM_Encoder_Init(&htim3, &sConfig) != HAL_OK)
  {
    Error_Handler();
  }
  sMasterConfig.MasterOutputTrigger = TIM_TRGO_RESET;
  sMasterConfig.MasterSlaveMode = TIM_MASTERSLAVEMODE_DISABLE;
  if (HAL_TIMEx_MasterConfigSynchronization(&htim3, &sMasterConfig) != HAL_OK)
  {
    Error_Handler();
  }
}

static void MX_TIM4_Init(void)
{

  TIM_ClockConfigTypeDef sClockSourceConfig = {0};
  TIM_MasterConfigTypeDef sMasterConfig = {0};

  htim4.Instance = TIM4;
  htim4.Init.Prescaler = 719;
  htim4.Init.CounterMode = TIM_COUNTERMODE_UP;
  htim4.Init.Period = 820;
  htim4.Init.ClockDivision = TIM_CLOCKDIVISION_DIV1;
  htim4.Init.AutoReloadPreload = TIM_AUTORELOAD_PRELOAD_ENABLE;
  if (HAL_TIM_Base_Init(&htim4) != HAL_OK)
  {
    Error_Handler();
  }
  sClockSourceConfig.ClockSource = TIM_CLOCKSOURCE_INTERNAL;
  if (HAL_TIM_ConfigClockSource(&htim4, &sClockSourceConfig) != HAL_OK)
  {
    Error_Handler();
  }
  sMasterConfig.MasterOutputTrigger = TIM_TRGO_RESET;
  sMasterConfig.MasterSlaveMode = TIM_MASTERSLAVEMODE_DISABLE;
  if (HAL_TIMEx_MasterConfigSynchronization(&htim4, &sMasterConfig) != HAL_OK)
  {
    Error_Handler();
  }
}

static void MX_TIM5_Init(void)
{

  TIM_MasterConfigTypeDef sMasterConfig = {0};
  TIM_OC_InitTypeDef sConfigOC = {0};

  htim5.Instance = TIM5;
  htim5.Init.Prescaler = 7199;
  htim5.Init.CounterMode = TIM_COUNTERMODE_UP;
  htim5.Init.Period = 99;
  htim5.Init.ClockDivision = TIM_CLOCKDIVISION_DIV1;
  htim5.Init.AutoReloadPreload = TIM_AUTORELOAD_PRELOAD_DISABLE;
  if (HAL_TIM_PWM_Init(&htim5) != HAL_OK)
  {
    Error_Handler();
  }
  sMasterConfig.MasterOutputTrigger = TIM_TRGO_RESET;
  sMasterConfig.MasterSlaveMode = TIM_MASTERSLAVEMODE_DISABLE;
  if (HAL_TIMEx_MasterConfigSynchronization(&htim5, &sMasterConfig) != HAL_OK)
  {
    Error_Handler();
  }
  sConfigOC.OCMode = TIM_OCMODE_PWM1;
  sConfigOC.Pulse = 0;
  sConfigOC.OCPolarity = TIM_OCPOLARITY_HIGH;
  sConfigOC.OCFastMode = TIM_OCFAST_DISABLE;
  if (HAL_TIM_PWM_ConfigChannel(&htim5, &sConfigOC, TIM_CHANNEL_2) != HAL_OK)
  {
    Error_Handler();
  }
  HAL_TIM_MspPostInit(&htim5);
}

static void MX_USART1_UART_Init(void)
{

  huart1.Instance = USART1;
  huart1.Init.BaudRate = 9600;
  huart1.Init.WordLength = UART_WORDLENGTH_8B;
  huart1.Init.StopBits = UART_STOPBITS_1;
  huart1.Init.Parity = UART_PARITY_NONE;
  huart1.Init.Mode = UART_MODE_TX_RX;
  huart1.Init.HwFlowCtl = UART_HWCONTROL_NONE;
  huart1.Init.OverSampling = UART_OVERSAMPLING_16;
  if (HAL_UART_Init(&huart1) != HAL_OK)
  {
    Error_Handler();
  }
}

static void MX_DMA_Init(void)
{

  /* DMA controller clock enable */
  __HAL_RCC_DMA2_CLK_ENABLE();

  /* DMA interrupt init */
  /* DMA2_Stream2_IRQn interrupt configuration */
  HAL_NVIC_SetPriority(DMA2_Stream2_IRQn, 0, 0);
  HAL_NVIC_EnableIRQ(DMA2_Stream2_IRQn);
  /* DMA2_Stream7_IRQn interrupt configuration */
  HAL_NVIC_SetPriority(DMA2_Stream7_IRQn, 0, 0);
  HAL_NVIC_EnableIRQ(DMA2_Stream7_IRQn);
}

static void MX_GPIO_Init(void)
{
  GPIO_InitTypeDef GPIO_InitStruct = {0};

  /* GPIO Ports Clock Enable */
  __HAL_RCC_GPIOC_CLK_ENABLE();
  __HAL_RCC_GPIOH_CLK_ENABLE();
  __HAL_RCC_GPIOA_CLK_ENABLE();
  __HAL_RCC_GPIOB_CLK_ENABLE();

  /*Configure GPIO pin Output Level */
  HAL_GPIO_WritePin(GPIOA, SPI_Screen_CS_Pin | SPI_SCK_Pin | SPI_Screen_RES_Pin | SPI_SDA_Pin, GPIO_PIN_RESET);

  /*Configure GPIO pin Output Level */
  HAL_GPIO_WritePin(SPI_Screen_DC_GPIO_Port, SPI_Screen_DC_Pin, GPIO_PIN_RESET);

  /*Configure GPIO pin Output Level */
  HAL_GPIO_WritePin(BEEP_GPIO_Port, BEEP_Pin, GPIO_PIN_SET);

  /*Configure GPIO pins : SPI_Screen_CS_Pin SPI_SCK_Pin SPI_Screen_RES_Pin SPI_SDA_Pin */
  GPIO_InitStruct.Pin = SPI_Screen_CS_Pin | SPI_SCK_Pin | SPI_Screen_RES_Pin | SPI_SDA_Pin;
  GPIO_InitStruct.Mode = GPIO_MODE_OUTPUT_PP;
  GPIO_InitStruct.Pull = GPIO_PULLUP;
  GPIO_InitStruct.Speed = GPIO_SPEED_FREQ_VERY_HIGH;
  HAL_GPIO_Init(GPIOA, &GPIO_InitStruct);

  /*Configure GPIO pin : SPI_Screen_DC_Pin */
  GPIO_InitStruct.Pin = SPI_Screen_DC_Pin;
  GPIO_InitStruct.Mode = GPIO_MODE_OUTPUT_PP;
  GPIO_InitStruct.Pull = GPIO_PULLUP;
  GPIO_InitStruct.Speed = GPIO_SPEED_FREQ_VERY_HIGH;
  HAL_GPIO_Init(SPI_Screen_DC_GPIO_Port, &GPIO_InitStruct);

  /*Configure GPIO pin : BEEP_Pin */
  GPIO_InitStruct.Pin = BEEP_Pin;
  GPIO_InitStruct.Mode = GPIO_MODE_OUTPUT_OD;
  GPIO_InitStruct.Pull = GPIO_NOPULL;
  GPIO_InitStruct.Speed = GPIO_SPEED_FREQ_LOW;
  HAL_GPIO_Init(BEEP_GPIO_Port, &GPIO_InitStruct);

  /*Configure GPIO pin : KEY_Pin */
  GPIO_InitStruct.Pin = KEY_Pin;
  GPIO_InitStruct.Mode = GPIO_MODE_IT_FALLING;
  GPIO_InitStruct.Pull = GPIO_PULLUP;
  HAL_GPIO_Init(KEY_GPIO_Port, &GPIO_InitStruct);

  /* EXTI interrupt init*/
  HAL_NVIC_SetPriority(EXTI9_5_IRQn, 4, 0);
  HAL_NVIC_EnableIRQ(EXTI9_5_IRQn);

}

void Error_Handler(void)
{
  __disable_irq();
  while (1)
  {
  }
}
